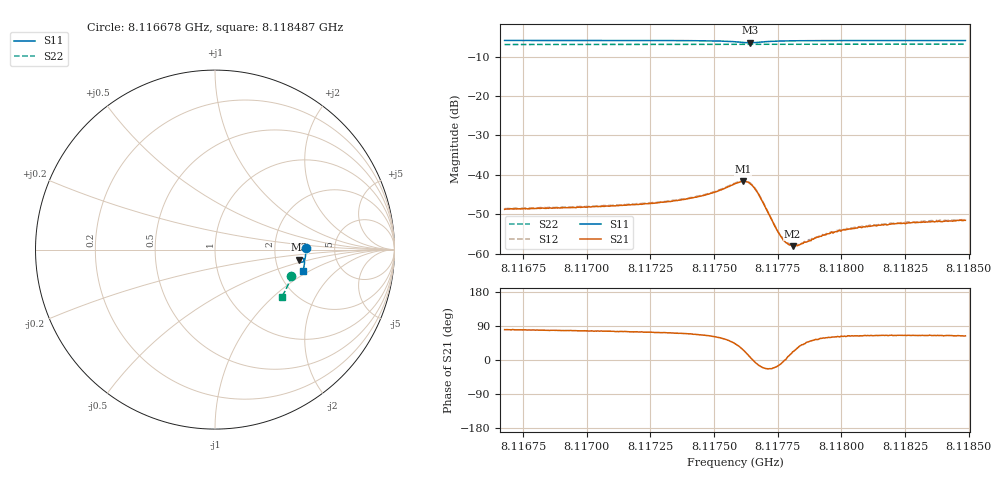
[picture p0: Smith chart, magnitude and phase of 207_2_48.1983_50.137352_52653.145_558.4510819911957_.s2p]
#  HZ  S  RI  R  50.00
! Rohde & Schwarz Vector Network Analyzer
! Rohde-Schwarz,ZNB20-2Port,1311601062101988,3.16
! Created: UTC 3/20/2024, 11:45:17 AM
! freq[Hz]  re:S11  im:S11  re:S21  im:S21  re:S12  im:S12  re:S22  im:S22
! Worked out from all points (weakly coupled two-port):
!   401 points, 8.116678 GHz to 8.118487 GHz, reference 50 ohm
!   highest |S21| = -41.68 dB at 8.117614 GHz (marker M1); lowest = -58.1 dB at 8.117809 GHz (marker M2)
!   lowest |S11| = -6.5 dB at 8.117642 GHz (marker M3), VSWR 2.80, Z = 137 - j20 ohm
!   |S11| at or under -10 dB: nowhere
!   |S22| runs from -6.9 to -6.8 dB; largest |S21 - S12| = 0.00024
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8.1166782e9  0.5066 0.00778  0.000623 0.00359  0.000676 0.00367  0.4252 -0.1479
8.1169813e9  0.5061 -0.0159  0.000878 0.00378  0.000922 0.00382  0.4187 -0.168
8.1172843e9  0.5035 -0.0406  0.00133 0.00422  0.00144 0.00426  0.411 -0.1877
8.1173793e9  0.5018 -0.0492  0.00167 0.00456  0.00173 0.00462  0.4085 -0.1939
8.1174607e9  0.4989 -0.0577  0.00225 0.00499  0.00237 0.00507  0.4061 -0.1991
8.1175104e9  0.4955 -0.0634  0.003 0.00533  0.0031 0.00543  0.4046 -0.2024
8.1175828e9  0.483 -0.0703  0.00563 0.00528  0.00575 0.00528  0.4017 -0.207
8.1176145e9  0.4737 -0.0668  0.00735 0.00374  0.00755 0.00376  0.4008 -0.2086
8.1176416e9  0.4701 -0.0569  0.00768 0.00104  0.00782 0.00103  0.3997 -0.2098
8.1176597e9  0.4732 -0.0502  0.00673 -0.000521  0.00685 -0.000632  0.3996 -0.2106
8.1176778e9  0.479 -0.0466  0.00529 -0.0014  0.00536 -0.00149  0.3992 -0.2115
8.1177366e9  0.4933 -0.0513  0.00217 -0.000806  0.00221 -0.000842  0.3981 -0.2153
8.1177637e9  0.496 -0.0554  0.00161 -0.000281  0.00167 -0.000273  0.3974 -0.2171
8.1177818e9  0.497 -0.058  0.00138 2.19e-05  0.0014 1.16e-05  0.3968 -0.2184
8.117809e9  0.4981 -0.0616  0.00116 0.000453  0.0012 0.000419  0.3961 -0.2201
8.1178406e9  0.4986 -0.0655  0.00104 0.000813  0.00105 0.000791  0.395 -0.2222
8.1178858e9  0.4989 -0.0705  0.000958 0.00119  0.001 0.0012  0.3936 -0.2252
8.1179492e9  0.4987 -0.0766  0.0009 0.00154  0.000945 0.00158  0.3915 -0.2292
8.1179989e9  0.498 -0.0813  0.000881 0.00172  0.000929 0.0017  0.3901 -0.2322
8.1180758e9  0.4973 -0.0879  0.000944 0.00194  0.000949 0.00197  0.3873 -0.2369
8.1181889e9  0.4958 -0.0969  0.000999 0.00214  0.00107 0.00215  0.3835 -0.2438
8.1184874e9  0.4906 -0.1198  0.00117 0.00237  0.00117 0.00241  0.3725 -0.2618
